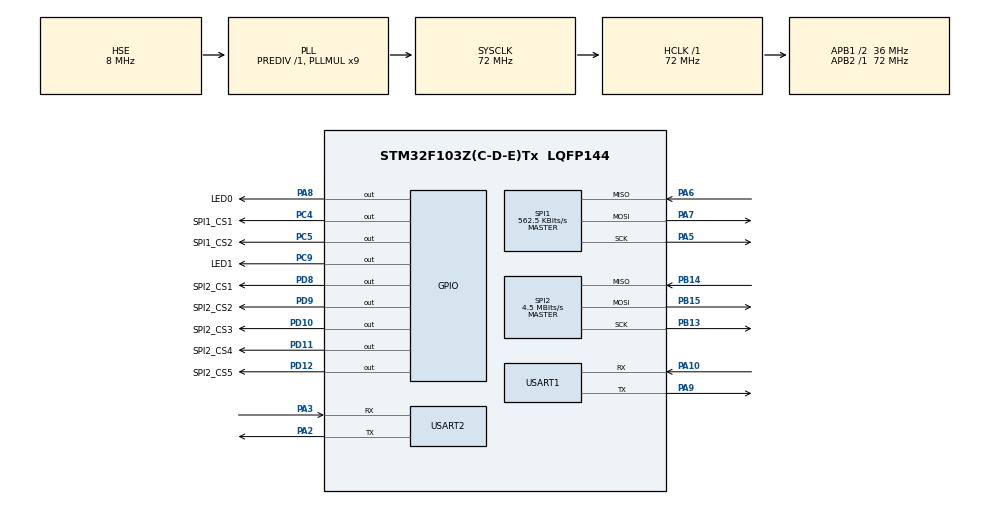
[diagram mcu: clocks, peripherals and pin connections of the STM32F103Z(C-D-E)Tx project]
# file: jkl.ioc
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Mcu.Family=STM32F1
Mcu.Name=STM32F103Z(C-D-E)Tx
Mcu.Package=LQFP144
NVIC.PriorityGroup=NVIC_PRIORITYGROUP_4
NVIC.SPI1_IRQn=true\:0\:0\:false\:false\:true\:true\:true\:true
NVIC.SPI2_IRQn=true\:0\:0\:false\:false\:true\:true\:true\:true
NVIC.TIM7_IRQn=true\:15\:0\:false\:false\:true\:false\:true\:true
NVIC.TimeBase=TIM7_IRQn
NVIC.TimeBaseIP=TIM7
NVIC.USART1_IRQn=true\:0\:0\:false\:false\:true\:true\:true\:true
NVIC.USART2_IRQn=true\:0\:0\:false\:false\:true\:true\:true\:true
OSC_IN.Mode=HSE-External-Oscillator
OSC_IN.Signal=RCC_OSC_IN
OSC_OUT.Mode=HSE-External-Oscillator
OSC_OUT.Signal=RCC_OSC_OUT
PA10.Mode=Asynchronous
PA10.Signal=USART1_RX
PA13.Mode=Serial_Wire
PA13.Signal=SYS_JTMS-SWDIO
PA14.Mode=Serial_Wire
PA14.Signal=SYS_JTCK-SWCLK
PA2.Mode=Asynchronous
PA2.Signal=USART2_TX
PA3.Mode=Asynchronous
PA3.Signal=USART2_RX
PA5.Mode=Full_Duplex_Master
PA5.Signal=SPI1_SCK
PA6.Mode=Full_Duplex_Master
PA6.Signal=SPI1_MISO
PA7.Mode=Full_Duplex_Master
PA7.Signal=SPI1_MOSI
PA8.GPIO_Label=LED0
PA8.PinState=GPIO_PIN_SET
PA8.Signal=GPIO_Output
PA9.Mode=Asynchronous
PA9.Signal=USART1_TX
PB13.Mode=Full_Duplex_Master
PB13.Signal=SPI2_SCK
PB14.Mode=Full_Duplex_Master
PB14.Signal=SPI2_MISO
PB15.Mode=Full_Duplex_Master
PB15.Signal=SPI2_MOSI
PC4.GPIO_Label=SPI1_CS1
PC4.PinState=GPIO_PIN_SET
PC4.Signal=GPIO_Output
PC5.GPIO_Label=SPI1_CS2
PC5.PinState=GPIO_PIN_SET
PC5.Signal=GPIO_Output
PC9.GPIO_Label=LED1
PC9.PinState=GPIO_PIN_SET
PC9.Signal=GPIO_Output
PD10.GPIO_Label=SPI2_CS3
PD10.Signal=GPIO_Output
PD11.GPIO_Label=SPI2_CS4
PD11.Signal=GPIO_Output
PD12.GPIO_Label=SPI2_CS5
PD12.Signal=GPIO_Output
PD8.GPIO_Label=SPI2_CS1
PD8.Signal=GPIO_Output
PD9.GPIO_Label=SPI2_CS2
PD9.Signal=GPIO_Output
ProjectManager.HeapSize=0x200
ProjectManager.StackSize=0x400
ProjectManager.TargetToolchain=MDK-ARM V5.32
RCC.AHBFreq_Value=72000000
RCC.APB1CLKDivider=RCC_HCLK_DIV2
RCC.APB1Freq_Value=36000000
RCC.APB1TimFreq_Value=72000000
RCC.APB2Freq_Value=72000000
RCC.APB2TimFreq_Value=72000000
RCC.HCLKFreq_Value=72000000
RCC.PLLMUL=RCC_PLL_MUL9
RCC.PLLSourceVirtual=RCC_PLLSOURCE_HSE
RCC.SYSCLKFreq_VALUE=72000000
RCC.SYSCLKSource=RCC_SYSCLKSOURCE_PLLCLK
RCC.USBFreq_Value=72000000
SPI1.BaudRatePrescaler=SPI_BAUDRATEPRESCALER_128
SPI1.CLKPhase=SPI_PHASE_2EDGE
SPI1.CalculateBaudRate=562.5 KBits/s
SPI1.DataSize=SPI_DATASIZE_16BIT
SPI1.Direction=SPI_DIRECTION_2LINES
SPI1.Mode=SPI_MODE_MASTER
SPI1.VirtualType=VM_MASTER
SPI2.BaudRatePrescaler=SPI_BAUDRATEPRESCALER_8
SPI2.CLKPhase=SPI_PHASE_2EDGE
SPI2.CalculateBaudRate=4.5 MBits/s
SPI2.DataSize=SPI_DATASIZE_16BIT
SPI2.Direction=SPI_DIRECTION_2LINES
SPI2.Mode=SPI_MODE_MASTER
SPI2.VirtualType=VM_MASTER
USART1.VirtualMode=VM_ASYNC
USART2.VirtualMode=VM_ASYNC
VP_SYS_VS_tim7.Mode=TIM7
board=custom

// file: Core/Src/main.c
/* USER CODE BEGIN Header */
/**
  ******************************************************************************
  * @file           : main.c
  * @brief          : Main program body
  ******************************************************************************
  * @attention
  *
  * Copyright (c) 2024 STMicroelectronics.
  * All rights reserved.
  *
  * This software is licensed under terms that can be found in the LICENSE file
  * in the root directory of this software component.
  * If no LICENSE file comes with this software, it is provided AS-IS.
  *
  ******************************************************************************
  */
/* USER CODE END Header */
#include "main.h"
#include "spi.h"
#include "usart.h"
#include "gpio.h"

void SystemClock_Config(void);
/* USER CODE BEGIN PFP */
#include "stm32f1xx_it.h"
#include "stdio.h"
#include "as5048.h"
/* USER CODE END PFP */

/* USER CODE BEGIN 0 */
#define UART_BUF_LENTH 8
#define PI 3.141592
uint8_t UART_RCV_DATA;
static uint8_t rcvstate = 0x00;
static uint32_t tempdata = 0;

int fputc(int ch, FILE *f)
{
    uint8_t temp[1]={ch};
    HAL_UART_Transmit(&huart2, temp, 1, HAL_MAX_DELAY);
    return ch;
}
/* USER CODE END 0 */

int main(void)
{

  /* MCU Configuration--------------------------------------------------------*/

  /* Reset of all peripherals, Initializes the Flash interface and the Systick. */
  HAL_Init();

  /* Configure the system clock */
  SystemClock_Config();

  /* Initialize all configured peripherals */
  MX_GPIO_Init();
  MX_SPI1_Init();
  MX_USART1_UART_Init();
  MX_USART2_UART_Init();
  MX_SPI2_Init();
  /* USER CODE BEGIN 2 */
  HAL_GPIO_WritePin(LED0_GPIO_Port,LED0_Pin,GPIO_PIN_SET);
  HAL_GPIO_WritePin(LED1_GPIO_Port,LED1_Pin,GPIO_PIN_RESET);

  int m=4;//设置读取次数

	Angle_Read(m);
	Angle_Reset(m);
	printf("INIT DONE!\r\n");
  /* USER CODE END 2 */

  /* Infinite loop */
  while (1)
  {

    /* USER CODE BEGIN 3 */
    GetAngle(m);
    HAL_Delay(200);

  }
  /* USER CODE END 3 */
}

void SystemClock_Config(void)
{
  RCC_OscInitTypeDef RCC_OscInitStruct = {0};
  RCC_ClkInitTypeDef RCC_ClkInitStruct = {0};

  /** Initializes the RCC Oscillators according to the specified parameters
  * in the RCC_OscInitTypeDef structure.
  */
  RCC_OscInitStruct.OscillatorType = RCC_OSCILLATORTYPE_HSE;
  RCC_OscInitStruct.HSEState = RCC_HSE_ON;
  RCC_OscInitStruct.HSEPredivValue = RCC_HSE_PREDIV_DIV1;
  RCC_OscInitStruct.HSIState = RCC_HSI_ON;
  RCC_OscInitStruct.PLL.PLLState = RCC_PLL_ON;
  RCC_OscInitStruct.PLL.PLLSource = RCC_PLLSOURCE_HSE;
  RCC_OscInitStruct.PLL.PLLMUL = RCC_PLL_MUL9;
  if (HAL_RCC_OscConfig(&RCC_OscInitStruct) != HAL_OK)
  {
    Error_Handler();
  }

  /** Initializes the CPU, AHB and APB buses clocks
  */
  RCC_ClkInitStruct.ClockType = RCC_CLOCKTYPE_HCLK|RCC_CLOCKTYPE_SYSCLK
                              |RCC_CLOCKTYPE_PCLK1|RCC_CLOCKTYPE_PCLK2;
  RCC_ClkInitStruct.SYSCLKSource = RCC_SYSCLKSOURCE_PLLCLK;
  RCC_ClkInitStruct.AHBCLKDivider = RCC_SYSCLK_DIV1;
  RCC_ClkInitStruct.APB1CLKDivider = RCC_HCLK_DIV2;
  RCC_ClkInitStruct.APB2CLKDivider = RCC_HCLK_DIV1;

  if (HAL_RCC_ClockConfig(&RCC_ClkInitStruct, FLASH_LATENCY_2) != HAL_OK)
  {
    Error_Handler();
  }
}

void HAL_TIM_PeriodElapsedCallback(TIM_HandleTypeDef *htim)
{
  if (htim->Instance == TIM7) {
    HAL_IncTick();
  }
}

void Error_Handler(void)
{
  __disable_irq();
  while (1)
  {
  }
}
